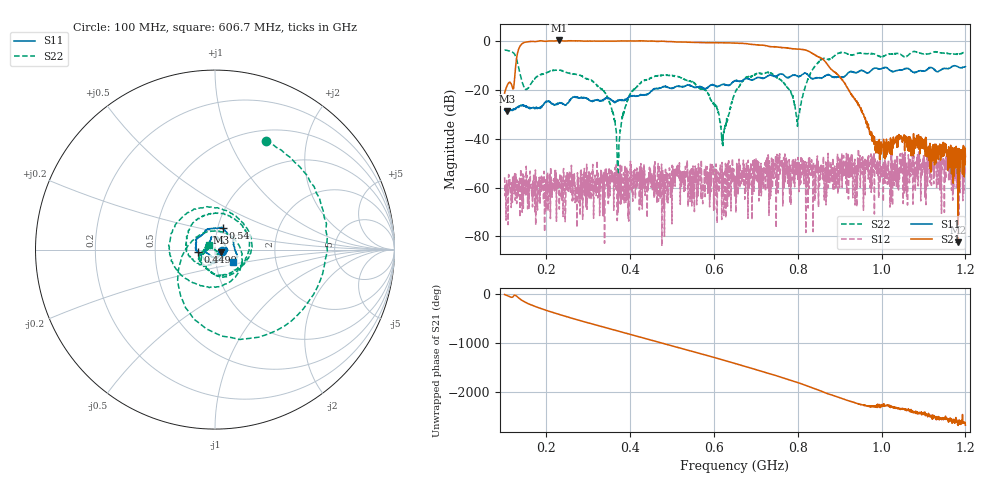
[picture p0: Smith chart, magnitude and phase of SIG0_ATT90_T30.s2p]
# Hz S DB R 50
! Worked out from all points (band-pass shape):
!   1601 points, 100 MHz to 1.2 GHz, reference 50 ohm
!   highest |S21| = 0.42 dB at 229.2 MHz (marker M1); lowest = -82.4 dB at 1.183 GHz (marker M2)
!   |S21| within 3 dB of the highest: 134.8 MHz to 768.7 MHz (633.9 MHz wide, 140 % of centre); 769.2091 MHz to 770.1375 MHz (928.4 kHz wide, 0.121 % of centre) (the widest 2 of 3)
!   lowest |S11| = -28.7 dB at 106.2 MHz (marker M3), VSWR 1.08, Z = 53.5 - j1.53 ohm
!   |S11| at or under -10 dB: start of sweep to 1.172 GHz; 1.175136 GHz to 1.175564 GHz (428.3 kHz wide, 0.0364 % of centre); 1.177 GHz to end of sweep
!   |S22| runs from -56.6 to -3.5 dB; largest |S21 - S12| = 1
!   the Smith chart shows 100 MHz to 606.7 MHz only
!   S11 on the Smith chart (normalised r, x): 100 MHz: 1.08, -0.02; 449.9 MHz: 0.82, -0.02; 540 MHz: 1.06, +0.26; 606.7 MHz: 1.21, -0.17
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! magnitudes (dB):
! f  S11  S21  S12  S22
! 100 MHz  -28.0  -21.2  -55.7  -3.5
! 106.2 MHz  -28.7  -18.0  -60.8  -3.6
! 151.6 MHz  -26.4  -0.2  -51.2  -19.6
! 229.2 MHz  -25.5  0.4  -57.4  -11.8
! 283.6 MHz  -23.1  0.2  -62.9  -14.0
! 342 MHz  -23.4  0.2  -55.0  -21.6
! 370.9 MHz  -24.5  0.2  -70.3  -56.5
! 397.7 MHz  -22.4  0.2  -57.9  -22.0
! 449.9 MHz  -20.2  0.2  -59.8  -14.8
! 467.1 MHz  -19.4  0.1  -65.6  -14.1
! 540 MHz  -17.9  -0.3  -57.7  -16.3
! 606.7 MHz  -18.3  -0.5  -58.2  -27.5
! 622.5 MHz  -17.5  -0.6  -56.6  -36.9
! 650 MHz  -16.0  -0.7  -56.1  -20.9
! 734.6 MHz  -13.8  -2.1  -52.7  -12.8
! 799.9 MHz  -14.2  -3.2  -56.5  -32.3
! 833.6 MHz  -15.3  -4.7  -54.4  -12.0
! 908.5 MHz  -14.5  -16.3  -52.9  -4.4
! 991 MHz  -11.2  -45.7  -54.9  -5.9
! 1.017 GHz  -11.5  -42.8  -58.8  -5.1
! 1.183 GHz  -10.4  -82.4  -63.4  -5.1
! 1.2 GHz  -10.3  -47.3  -49.1  -4.1
